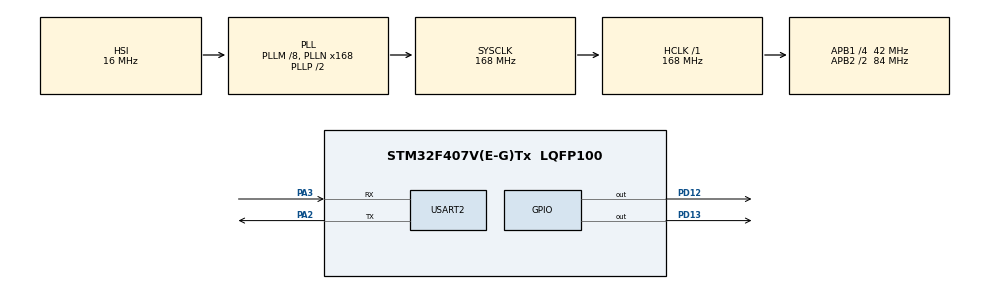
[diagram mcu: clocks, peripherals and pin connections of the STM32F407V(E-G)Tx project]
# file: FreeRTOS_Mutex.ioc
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FREERTOS.Mutexes01=uartMutex,Dynamic,NULL,Available
FREERTOS.Tasks01=uartTask1,24,128,StartUartTask1,Default,NULL,Dynamic,NULL,NULL;uartTask2,24,128,StartUartTask2,Default,NULL,Dynamic,NULL,NULL
FREERTOS.configUSE_NEWLIB_REENTRANT=1
Mcu.Family=STM32F4
Mcu.Name=STM32F407V(E-G)Tx
Mcu.Package=LQFP100
NVIC.PriorityGroup=NVIC_PRIORITYGROUP_4
NVIC.TIM1_UP_TIM10_IRQn=true\:15\:0\:false\:false\:true\:false\:false\:true\:true
NVIC.TimeBase=TIM1_UP_TIM10_IRQn
NVIC.TimeBaseIP=TIM1
PA2.Mode=Asynchronous
PA2.Signal=USART2_TX
PA3.Mode=Asynchronous
PA3.Signal=USART2_RX
PD12.Signal=GPIO_Output
PD13.Signal=GPIO_Output
ProjectManager.HeapSize=0x200
ProjectManager.StackSize=0x400
ProjectManager.TargetToolchain=STM32CubeIDE
RCC.48MHZClocksFreq_Value=84000000
RCC.AHBFreq_Value=168000000
RCC.APB1CLKDivider=RCC_HCLK_DIV4
RCC.APB1Freq_Value=42000000
RCC.APB1TimFreq_Value=84000000
RCC.APB2CLKDivider=RCC_HCLK_DIV2
RCC.APB2Freq_Value=84000000
RCC.APB2TimFreq_Value=168000000
RCC.CortexFreq_Value=168000000
RCC.HCLKFreq_Value=168000000
RCC.HSE_VALUE=25000000
RCC.HSI_VALUE=16000000
RCC.LSE_VALUE=32768
RCC.PLLM=8
RCC.PLLN=168
RCC.SYSCLKFreq_VALUE=168000000
RCC.SYSCLKSource=RCC_SYSCLKSOURCE_PLLCLK
RCC.VCOOutputFreq_Value=336000000
USART2.VirtualMode=VM_ASYNC
VP_FREERTOS_VS_CMSIS_V2.Mode=CMSIS_V2
VP_SYS_VS_tim1.Mode=TIM1
board=custom

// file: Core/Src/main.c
/* USER CODE BEGIN Header */
/**
  ******************************************************************************
  * @file           : main.c
  * @brief          : Main program body
  ******************************************************************************
  * @attention
  *
  * Copyright (c) 2026 STMicroelectronics.
  * All rights reserved.
  *
  * This software is licensed under terms that can be found in the LICENSE file
  * in the root directory of this software component.
  * If no LICENSE file comes with this software, it is provided AS-IS.
  *
  ******************************************************************************
  */
/* USER CODE END Header */
#include "main.h"
#include "cmsis_os.h"

/* USER CODE BEGIN Includes */
#include <string.h>
#include <stdio.h>
/* USER CODE END Includes */

UART_HandleTypeDef huart2;

/* Definitions for uartTask1 */
osThreadId_t uartTask1Handle;
const osThreadAttr_t uartTask1_attributes = {
  .name = "uartTask1",
  .stack_size = 128 * 4,
  .priority = (osPriority_t) osPriorityNormal,
};
/* Definitions for uartTask2 */
osThreadId_t uartTask2Handle;
const osThreadAttr_t uartTask2_attributes = {
  .name = "uartTask2",
  .stack_size = 128 * 4,
  .priority = (osPriority_t) osPriorityNormal,
};
/* Definitions for uartMutex */
osMutexId_t uartMutexHandle;
const osMutexAttr_t uartMutex_attributes = {
  .name = "uartMutex"
};

void SystemClock_Config(void);
static void MX_GPIO_Init(void);
static void MX_USART2_UART_Init(void);
void StartUartTask1(void *argument);
void StartUartTask2(void *argument);

int main(void)
{

  /* MCU Configuration--------------------------------------------------------*/

  /* Reset of all peripherals, Initializes the Flash interface and the Systick. */
  HAL_Init();

  /* Configure the system clock */
  SystemClock_Config();

  /* Initialize all configured peripherals */
  MX_GPIO_Init();
  MX_USART2_UART_Init();

  /* Init scheduler */
  osKernelInitialize();
  /* Create the mutex(es) */
  /* creation of uartMutex */
  uartMutexHandle = osMutexNew(&uartMutex_attributes);

  /* Create the thread(s) */
  /* creation of uartTask1 */
  uartTask1Handle = osThreadNew(StartUartTask1, NULL, &uartTask1_attributes);

  /* creation of uartTask2 */
  uartTask2Handle = osThreadNew(StartUartTask2, NULL, &uartTask2_attributes);

  /* Start scheduler */
  osKernelStart();

  /* We should never get here as control is now taken by the scheduler */

  /* Infinite loop */
  while (1)
  {

  }
}

void SystemClock_Config(void)
{
  RCC_OscInitTypeDef RCC_OscInitStruct = {0};
  RCC_ClkInitTypeDef RCC_ClkInitStruct = {0};

  /** Configure the main internal regulator output voltage
  */
  __HAL_RCC_PWR_CLK_ENABLE();
  __HAL_PWR_VOLTAGESCALING_CONFIG(PWR_REGULATOR_VOLTAGE_SCALE1);

  /** Initializes the RCC Oscillators according to the specified parameters
  * in the RCC_OscInitTypeDef structure.
  */
  RCC_OscInitStruct.OscillatorType = RCC_OSCILLATORTYPE_HSI;
  RCC_OscInitStruct.HSIState = RCC_HSI_ON;
  RCC_OscInitStruct.HSICalibrationValue = RCC_HSICALIBRATION_DEFAULT;
  RCC_OscInitStruct.PLL.PLLState = RCC_PLL_ON;
  RCC_OscInitStruct.PLL.PLLSource = RCC_PLLSOURCE_HSI;
  RCC_OscInitStruct.PLL.PLLM = 8;
  RCC_OscInitStruct.PLL.PLLN = 168;
  RCC_OscInitStruct.PLL.PLLP = RCC_PLLP_DIV2;
  RCC_OscInitStruct.PLL.PLLQ = 4;
  if (HAL_RCC_OscConfig(&RCC_OscInitStruct) != HAL_OK)
  {
    Error_Handler();
  }

  /** Initializes the CPU, AHB and APB buses clocks
  */
  RCC_ClkInitStruct.ClockType = RCC_CLOCKTYPE_HCLK|RCC_CLOCKTYPE_SYSCLK
                              |RCC_CLOCKTYPE_PCLK1|RCC_CLOCKTYPE_PCLK2;
  RCC_ClkInitStruct.SYSCLKSource = RCC_SYSCLKSOURCE_PLLCLK;
  RCC_ClkInitStruct.AHBCLKDivider = RCC_SYSCLK_DIV1;
  RCC_ClkInitStruct.APB1CLKDivider = RCC_HCLK_DIV4;
  RCC_ClkInitStruct.APB2CLKDivider = RCC_HCLK_DIV2;

  if (HAL_RCC_ClockConfig(&RCC_ClkInitStruct, FLASH_LATENCY_5) != HAL_OK)
  {
    Error_Handler();
  }
}

static void MX_USART2_UART_Init(void)
{

  huart2.Instance = USART2;
  huart2.Init.BaudRate = 115200;
  huart2.Init.WordLength = UART_WORDLENGTH_8B;
  huart2.Init.StopBits = UART_STOPBITS_1;
  huart2.Init.Parity = UART_PARITY_NONE;
  huart2.Init.Mode = UART_MODE_TX_RX;
  huart2.Init.HwFlowCtl = UART_HWCONTROL_NONE;
  huart2.Init.OverSampling = UART_OVERSAMPLING_16;
  if (HAL_UART_Init(&huart2) != HAL_OK)
  {
    Error_Handler();
  }

}

static void MX_GPIO_Init(void)
{
  GPIO_InitTypeDef GPIO_InitStruct = {0};

  /* GPIO Ports Clock Enable */
  __HAL_RCC_GPIOA_CLK_ENABLE();
  __HAL_RCC_GPIOD_CLK_ENABLE();

  /*Configure GPIO pin Output Level */
  HAL_GPIO_WritePin(GPIOD, GPIO_PIN_12|GPIO_PIN_13, GPIO_PIN_RESET);

  /*Configure GPIO pins : PD12 PD13 */
  GPIO_InitStruct.Pin = GPIO_PIN_12|GPIO_PIN_13;
  GPIO_InitStruct.Mode = GPIO_MODE_OUTPUT_PP;
  GPIO_InitStruct.Pull = GPIO_NOPULL;
  GPIO_InitStruct.Speed = GPIO_SPEED_FREQ_LOW;
  HAL_GPIO_Init(GPIOD, &GPIO_InitStruct);

}

/* USER CODE BEGIN 4 */
int _write(int file, char *ptr, int len)
{
    HAL_UART_Transmit(&huart2, (uint8_t*)ptr, len, HAL_MAX_DELAY);
    return len;
}
/* USER CODE END 4 */

void StartUartTask1(void *argument)
{
  /* USER CODE BEGIN 5 */
  /* Infinite loop */
  for(;;)
  {
	osMutexAcquire(uartMutexHandle, osWaitForever);
	printf("Task1: Hello from task 1\r\n");
	HAL_GPIO_TogglePin(GPIOD, GPIO_PIN_12);
	osMutexRelease(uartMutexHandle);
    osDelay(10);
  }
  /* USER CODE END 5 */
}

void StartUartTask2(void *argument)
{
  /* USER CODE BEGIN StartUartTask2 */
  /* Infinite loop */
  for(;;)
  {
	  osMutexAcquire(uartMutexHandle, osWaitForever);
	  printf("Task2: Hello from task 2\r\n");
	  HAL_GPIO_TogglePin(GPIOD, GPIO_PIN_13);
	  osMutexRelease(uartMutexHandle);
	  osDelay(10);
  }
  /* USER CODE END StartUartTask2 */
}

void HAL_TIM_PeriodElapsedCallback(TIM_HandleTypeDef *htim)
{
  if (htim->Instance == TIM1)
  {
    HAL_IncTick();
  }
}

void Error_Handler(void)
{
  __disable_irq();
  while (1)
  {
  }
}
